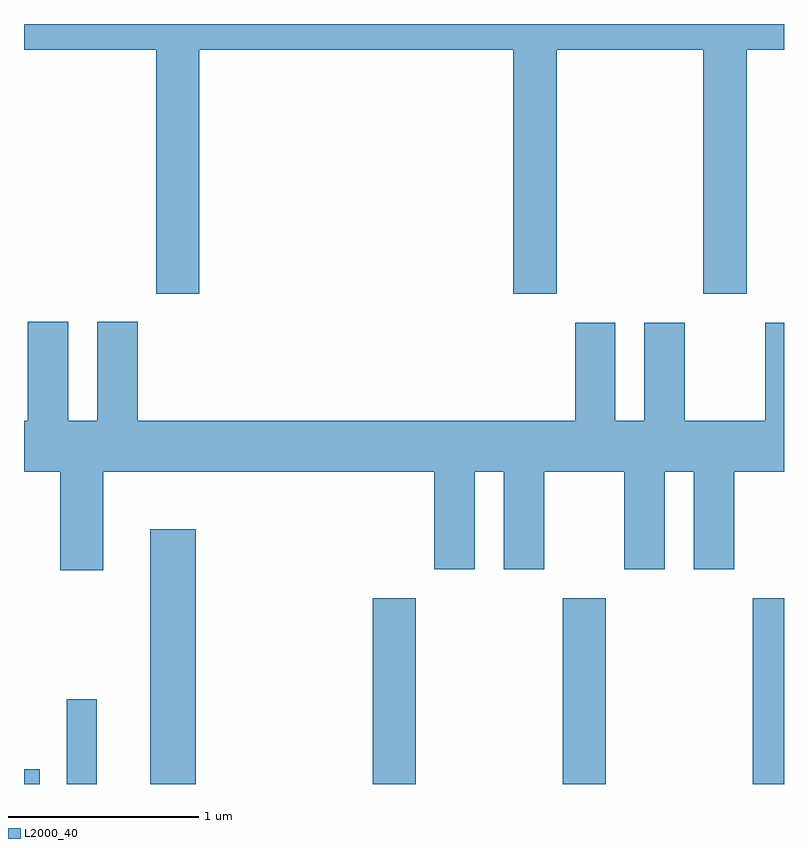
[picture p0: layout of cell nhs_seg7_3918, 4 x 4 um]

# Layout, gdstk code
import gdstk
lib = gdstk.Library(unit=1e-6, precision=1e-09)
def R(c, l, rs):  # rectangles x0, y0, x1, y1
    for r in rs: c.add(gdstk.rectangle(r[:2], r[2:], *l))
def P(c, l, *ps):  # polygons
    for p in ps: c.add(gdstk.Polygon(p, *l))
L2000_40 = (2000, 40)

nhs_seg7_3918 = lib.new_cell('nhs_seg7_3918')
R(nhs_seg7_3918, L2000_40, [(305.611,1688.252,305.693,1688.329), (305.836,1688.252,305.994,1688.698), (306.276,1688.252,306.514,1689.594), (307.446,1688.252,307.674,1689.229), (308.446,1688.252,308.674,1689.229), (309.446,1688.252,309.611,1689.229)])
P(nhs_seg7_3918, L2000_40, [(306.534,1692.116),(308.186,1692.116),(308.186,1690.831),(308.414,1690.831),(308.414,1692.116),(309.186,1692.116),(309.186,1690.831),(309.414,1690.831),(309.414,1692.116),(309.611,1692.116),(309.611,1692.252),(305.611,1692.252),(305.611,1692.116),(306.306,1692.116),(306.306,1690.831),(306.534,1690.831)],
  [(309.611,1690.679),(309.511,1690.679),(309.511,1690.164),(309.089,1690.164),(309.089,1690.679),(308.876,1690.679),(308.876,1690.164),(308.724,1690.164),(308.724,1690.679),(308.511,1690.679),(308.511,1690.164),(306.209,1690.164),(306.209,1690.684),(305.996,1690.684),(305.996,1690.164),(305.844,1690.164),(305.844,1690.684),(305.631,1690.684),(305.631,1690.164),(305.611,1690.164),(305.611,1689.896),(305.801,1689.896),(305.801,1689.376),(306.029,1689.376),(306.029,1689.896),(307.771,1689.896),(307.771,1689.381),(307.984,1689.381),(307.984,1689.896),(308.136,1689.896),(308.136,1689.381),(308.349,1689.381),(308.349,1689.896),(308.771,1689.896),(308.771,1689.381),(308.984,1689.381),(308.984,1689.896),(309.136,1689.896),(309.136,1689.381),(309.349,1689.381),(309.349,1689.896),(309.611,1689.896)])

lib.write_gds('nhs_seg7_3918.gds')
